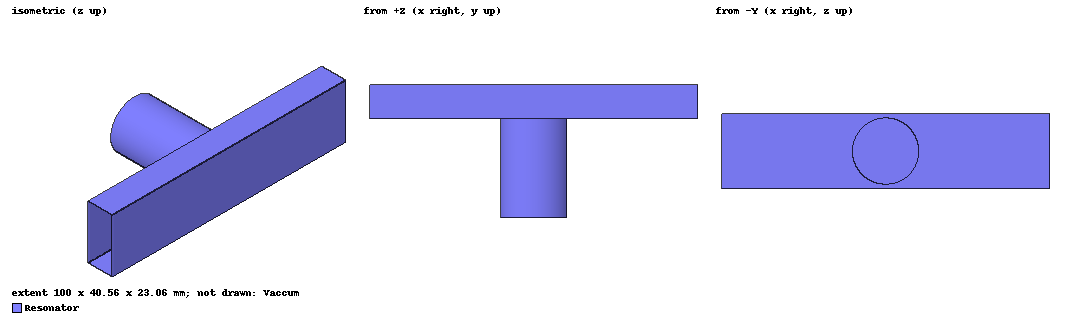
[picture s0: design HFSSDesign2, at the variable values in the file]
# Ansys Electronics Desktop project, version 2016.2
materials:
  vacuum: permittivity=1
  pec: conductivity=1e+30
  copper: permeability=0.999991 conductivity=58000000

design HFSSDesign2 (HFSS, DrivenModal, model units mm)
options: Calculate_Lossy_Dielectrics
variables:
  h = 0.8mm
  Lw = 100mm
  a = 22.86mm
  b = 10.16mm
  height = 30mm
  r_apperture = 3mm
  Rad = 10mm
  t = 0.1mm
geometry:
  hole = cylinder(axis=Y, base_centre=(0mm, -b/2, 0mm), radius=r_apperture, height=-4*t)
  Box1 = box(corner=(-Lw/2, -b/2, -a/2), size=(Lw, b, a))
  WG = box(corner=(-Lw/2, -b/2-t, -a/2-t), size=(Lw, b+2*t, a+2*t))
  Vaccum [vacuum] = box(corner=(-Lw/2, -b/2, -a/2), size=(Lw, b, a))
  WG.subtract(Box1)
  Cylinder4 = cylinder(axis=Y, base_centre=(0mm, -b/2-2*t, 0), radius=Rad, height=-height)
  Resonator [pec] = cylinder(axis=Y, base_centre=(0mm, -b/2-t, 0), radius=Rad+t, height=-height-2*t)
  Cylinder6 = cylinder(axis=Y, base_centre=(0mm, -b/2-2*t, 0), radius=Rad, height=-height)
  Resonator.subtract(Cylinder4)
  Resonator.unite(WG)
  hole1 = cylinder(axis=Y, base_centre=(0mm, -b/2, 0mm), radius=r_apperture, height=-4*t)
  Resonator.subtract(hole)
  Vaccum.unite(hole1, Cylinder6)
  Rectangle1 = rectangle(corner=(0mm, -b/2-2*t-height, -Rad), y_size=height+2*t+b, z_size=2*Rad)
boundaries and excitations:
  1: Wave Port Faces=Vaccum.face(-x) NumModes=1 Modes{Mode1{IntLine{middle of Vaccum.edge(11 of 12) -> middle of Vaccum.edge(9 of 12)} CharImp=Zpi}}
  2: Wave Port Faces=Vaccum.face(+x) NumModes=1 Modes{Mode1{IntLine{middle of Vaccum.edge(12 of 12) -> middle of Vaccum.edge(10 of 12)} CharImp=Zpi}}
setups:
  Setup1: HfssDriven Frequency=10GHz MaxDeltaS=0.02 MaximumPasses=20 MinimumPasses=1 MinimumConvergedPasses=1 PercentRefinement=30 BasisOrder=1 PortAccuracy=2
    sweep Sweep: 8GHz to 12.5GHz step 1MHz; Type=Interpolating InterpTolerance=0.5 InterpMaxSolns=250 InterpUsePortImped=false
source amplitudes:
  1:1: 1W 0deg
  2:1: 0W 0deg
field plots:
  Vector_E1: E Field over Rectangle1.face on Setup1 : LastAdaptive at Freq=10GHz Phase=0deg
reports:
  XY Plot 1: dB(S(2,1)) vs Freq on Setup1 : Sweep; markers m1 at 11.537GHz
  XY Plot 2: dB(S(2,1)) vs Freq on Setup1 : Sweep
  XY Plot 3: dB(S(2,1)) vs Freq on Setup1 : Sweep
  XY Plot 4: dB(S(2,1)) vs Freq on Setup1 : Sweep
  XY Plot 5: dB(S(2,1)) vs Freq on Setup1 : Sweep
  XY Plot 6: dB(S(2,1)) vs Freq on Setup1 : Sweep
